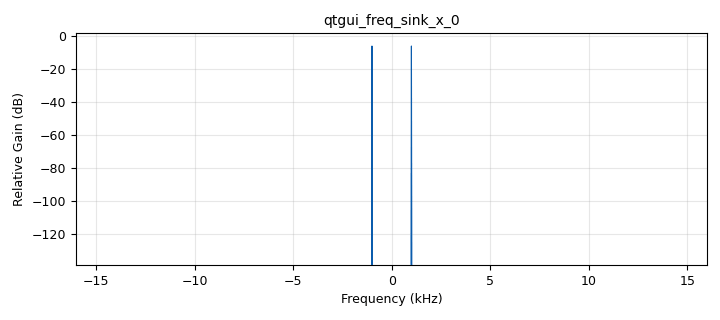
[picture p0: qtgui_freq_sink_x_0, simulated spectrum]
options:
  parameters:
    author: p
    generate_options: qt_gui
    id: week1_lecture4
    output_language: python
    title: Not titled yet
  states: {}

blocks:
- name: freq
  id: variable_qtgui_range
  parameters:
    start: '100'
    step: '0.1'
    stop: '16000'
    value: '1000'
  states: {}
- name: samp_rate
  id: variable
  parameters:
    value: '32000'
  states: {}
- name: analog_sig_source_x_0
  id: analog_sig_source_x
  parameters:
    amp: '1'
    freq: '1000'
    offset: '0'
    phase: '0'
    samp_rate: samp_rate
    type: float
    waveform: analog.GR_COS_WAVE
  states: {}
- name: blocks_throttle2_0
  id: blocks_throttle2
  parameters:
    samples_per_second: samp_rate
    type: float
  states: {}
- name: qtgui_freq_sink_x_0
  id: qtgui_freq_sink_x
  parameters:
    autoscale: 'True'
    bw: samp_rate
    fc: '0'
    fftsize: '1024'
    grid: 'True'
    type: float
    wintype: window.WIN_RECTANGULAR
  states: {}

connections:
- [analog_sig_source_x_0, '0', blocks_throttle2_0, '0']
- [blocks_throttle2_0, '0', qtgui_freq_sink_x_0, '0']

metadata:
  file_format: 1
  grc_version: 3.10.7.0
